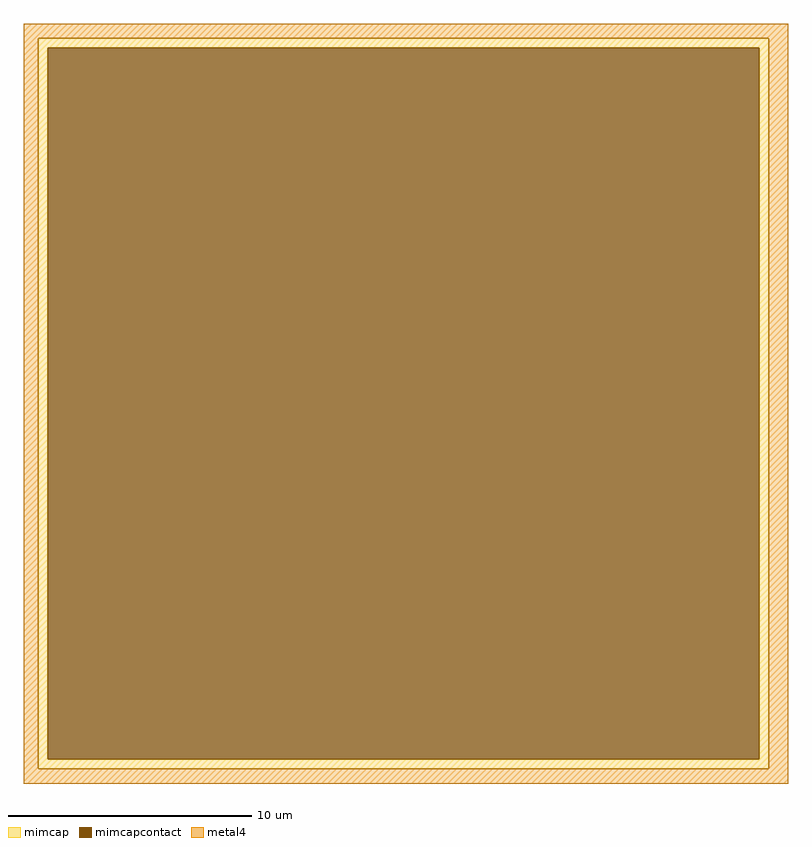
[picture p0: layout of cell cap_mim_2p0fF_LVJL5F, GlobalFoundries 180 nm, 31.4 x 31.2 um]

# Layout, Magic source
magic
tech gf180mcuD
<< mimcap >>
rect -312 292 288 300
rect -312 -292 -304 292
rect 280 -292 288 292
rect -312 -300 288 -292
<< mimcapcontact >>
rect -304 -292 280 292
<< metal4 >>
rect -324 300 304 312
rect -324 -300 -312 300
rect 288 -300 304 300
rect -324 -312 304 -300
<< properties >>
string FIXED_BBOX -324 -312 300 312
string gencell cap_mim_2p0fF
string library gf180mcu
string parameters w 30 l 30 val 24.9k carea 25.00 cperi 20.00 class capacitor nx 1 ny 1 dummy 0 square 0 lmin 5.00 wmin 5.00 lmax 100.0 wmax 100.0 dc 0 bconnect 1 tconnect 1
<< end >>
